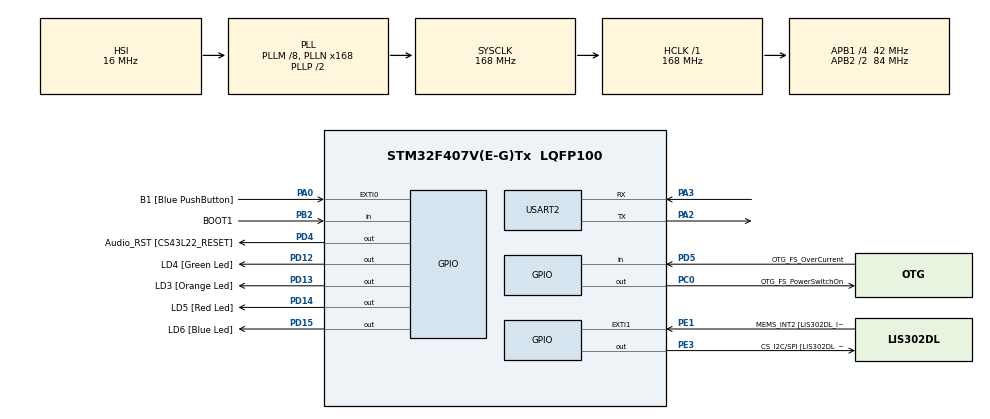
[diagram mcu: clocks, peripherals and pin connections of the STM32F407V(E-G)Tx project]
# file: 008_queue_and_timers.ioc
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Mcu.Family=STM32F4
Mcu.Name=STM32F407V(E-G)Tx
Mcu.Package=LQFP100
NVIC.PriorityGroup=NVIC_PRIORITYGROUP_4
NVIC.TIM6_DAC_IRQn=true\:0\:0\:false\:false\:true\:false\:true\:true
NVIC.TimeBase=TIM6_DAC_IRQn
NVIC.TimeBaseIP=TIM6
NVIC.USART2_IRQn=true\:6\:0\:true\:false\:true\:true\:true\:true
PA0-WKUP.GPIO_Label=B1 [Blue PushButton]
PA0-WKUP.Signal=GPXTI0
PA10.GPIO_Label=OTG_FS_ID
PA10.GPIO_Mode=GPIO_MODE_AF_PP
PA10.GPIO_PuPd=GPIO_NOPULL
PA10.GPIO_Speed=GPIO_SPEED_FREQ_LOW
PA10.Signal=USB_OTG_FS_ID
PA11.GPIO_Label=OTG_FS_DM
PA11.GPIO_Mode=GPIO_MODE_AF_PP
PA11.GPIO_PuPd=GPIO_NOPULL
PA11.GPIO_Speed=GPIO_SPEED_FREQ_LOW
PA11.Signal=USB_OTG_FS_DM
PA12.GPIO_Label=OTG_FS_DP
PA12.GPIO_Mode=GPIO_MODE_AF_PP
PA12.GPIO_PuPd=GPIO_NOPULL
PA12.GPIO_Speed=GPIO_SPEED_FREQ_LOW
PA12.Signal=USB_OTG_FS_DP
PA13.GPIO_Label=SWDIO
PA13.Signal=SYS_JTMS-SWDIO
PA14.GPIO_Label=SWCLK
PA14.Signal=SYS_JTCK-SWCLK
PA2.Mode=Asynchronous
PA2.Signal=USART2_TX
PA3.Mode=Asynchronous
PA3.Signal=USART2_RX
PA4.GPIO_Label=I2S3_WS [CS43L22_LRCK]
PA4.GPIO_Mode=GPIO_MODE_AF_PP
PA4.GPIO_PuPd=GPIO_NOPULL
PA4.GPIO_Speed=GPIO_SPEED_FREQ_LOW
PA4.Signal=I2S3_WS
PA5.GPIO_Label=SPI1_SCK [LIS302DL_SCL/SPC]
PA5.GPIO_Mode=GPIO_MODE_AF_PP
PA5.GPIO_PuPd=GPIO_NOPULL
PA5.GPIO_Speed=GPIO_SPEED_FREQ_LOW
PA5.Signal=SPI1_SCK
PA6.GPIO_Label=SPI1_MISO [LIS302DL_SDO]
PA6.GPIO_Mode=GPIO_MODE_AF_PP
PA6.GPIO_PuPd=GPIO_NOPULL
PA6.GPIO_Speed=GPIO_SPEED_FREQ_LOW
PA6.Signal=SPI1_MISO
PA7.GPIO_Label=SPI1_MOSI [LIS302DL_SDA/SDI/SDO]
PA7.GPIO_Mode=GPIO_MODE_AF_PP
PA7.GPIO_PuPd=GPIO_NOPULL
PA7.GPIO_Speed=GPIO_SPEED_FREQ_LOW
PA7.Signal=SPI1_MOSI
PA9.GPIO_Label=VBUS_FS
PA9.GPIO_Mode=GPIO_MODE_INPUT
PA9.GPIO_PuPd=GPIO_NOPULL
PA9.Signal=USB_OTG_FS_VBUS
PB10.GPIO_Label=CLK_IN [MP45DT02_CLK]
PB10.GPIO_Mode=GPIO_MODE_AF_PP
PB10.GPIO_PuPd=GPIO_NOPULL
PB10.GPIO_Speed=GPIO_SPEED_FREQ_LOW
PB10.Signal=I2S2_CK
PB2.GPIO_Label=BOOT1
PB2.GPIO_Mode=GPIO_MODE_INPUT
PB2.GPIO_PuPd=GPIO_NOPULL
PB2.Signal=GPIO_Input
PB3.GPIO_Label=SWO
PB3.Signal=SYS_JTDO-SWO
PB6.GPIO_Label=Audio_SCL [CS43L22_SCL]
PB6.GPIO_Mode=GPIO_MODE_AF_OD
PB6.GPIO_PuPd=GPIO_NOPULL
PB6.GPIO_Speed=GPIO_SPEED_FREQ_LOW
PB6.Signal=I2C1_SCL
PB9.GPIO_Label=Audio_SDA [CS43L22_SDA]
PB9.GPIO_Mode=GPIO_MODE_AF_OD
PB9.GPIO_PuPd=GPIO_NOPULL
PB9.GPIO_Speed=GPIO_SPEED_FREQ_LOW
PB9.Signal=I2C1_SDA
PC0.GPIO_Label=OTG_FS_PowerSwitchOn
PC0.GPIO_PuPd=GPIO_NOPULL
PC0.GPIO_Speed=GPIO_SPEED_FREQ_LOW
PC0.PinState=GPIO_PIN_SET
PC0.Signal=GPIO_Output
PC10.GPIO_Label=I2S3_SCK [CS43L22_SCLK]
PC10.GPIO_Mode=GPIO_MODE_AF_PP
PC10.GPIO_PuPd=GPIO_NOPULL
PC10.GPIO_Speed=GPIO_SPEED_FREQ_LOW
PC10.Signal=I2S3_CK
PC12.GPIO_Label=I2S3_SD [CS43L22_SDIN]
PC12.GPIO_Mode=GPIO_MODE_AF_PP
PC12.GPIO_PuPd=GPIO_NOPULL
PC12.GPIO_Speed=GPIO_SPEED_FREQ_LOW
PC12.Signal=I2S3_SD
PC14-OSC32_IN.GPIO_Label=PC14-OSC32_IN
PC14-OSC32_IN.Signal=RCC_OSC32_IN
PC15-OSC32_OUT.GPIO_Label=PC15-OSC32_OUT
PC15-OSC32_OUT.Signal=RCC_OSC32_OUT
PC3.GPIO_Label=PDM_OUT [MP45DT02_DOUT]
PC3.GPIO_Mode=GPIO_MODE_AF_PP
PC3.GPIO_PuPd=GPIO_NOPULL
PC3.GPIO_Speed=GPIO_SPEED_FREQ_LOW
PC3.Signal=I2S2_SD
PC7.GPIO_Label=I2S3_MCK [CS43L22_MCLK]
PC7.GPIO_Mode=GPIO_MODE_AF_PP
PC7.GPIO_PuPd=GPIO_NOPULL
PC7.GPIO_Speed=GPIO_SPEED_FREQ_LOW
PC7.Signal=I2S3_MCK
PD12.GPIO_Label=LD4 [Green Led]
PD12.GPIO_PuPd=GPIO_NOPULL
PD12.GPIO_Speed=GPIO_SPEED_FREQ_LOW
PD12.Signal=GPIO_Output
PD13.GPIO_Label=LD3 [Orange Led]
PD13.GPIO_PuPd=GPIO_NOPULL
PD13.GPIO_Speed=GPIO_SPEED_FREQ_LOW
PD13.Signal=GPIO_Output
PD14.GPIO_Label=LD5 [Red Led]
PD14.GPIO_PuPd=GPIO_NOPULL
PD14.GPIO_Speed=GPIO_SPEED_FREQ_LOW
PD14.Signal=GPIO_Output
PD15.GPIO_Label=LD6 [Blue Led]
PD15.GPIO_PuPd=GPIO_NOPULL
PD15.GPIO_Speed=GPIO_SPEED_FREQ_LOW
PD15.Signal=GPIO_Output
PD4.GPIO_Label=Audio_RST [CS43L22_RESET]
PD4.GPIO_PuPd=GPIO_NOPULL
PD4.GPIO_Speed=GPIO_SPEED_FREQ_LOW
PD4.Signal=GPIO_Output
PD5.GPIO_Label=OTG_FS_OverCurrent
PD5.GPIO_Mode=GPIO_MODE_INPUT
PD5.GPIO_PuPd=GPIO_NOPULL
PD5.Signal=GPIO_Input
PE1.GPIO_Label=MEMS_INT2 [LIS302DL_INT2]
PE1.GPIO_ModeDefaultEXTI=GPIO_MODE_EVT_RISING
PE1.GPIO_PuPd=GPIO_NOPULL
PE1.Signal=GPXTI1
PE3.GPIO_Label=CS_I2C/SPI [LIS302DL_CS_I2C/SPI]
PE3.GPIO_PuPd=GPIO_NOPULL
PE3.GPIO_Speed=GPIO_SPEED_FREQ_LOW
PE3.Signal=GPIO_Output
PH0-OSC_IN.GPIO_Label=PH0-OSC_IN
PH0-OSC_IN.Signal=RCC_OSC_IN
PH1-OSC_OUT.GPIO_Label=PH1-OSC_OUT
PH1-OSC_OUT.Signal=RCC_OSC_OUT
ProjectManager.HeapSize=0x200
ProjectManager.StackSize=0x400
ProjectManager.TargetToolchain=STM32CubeIDE
RCC.48MHZClocksFreq_Value=48000000
RCC.AHBFreq_Value=168000000
RCC.APB1CLKDivider=RCC_HCLK_DIV4
RCC.APB1Freq_Value=42000000
RCC.APB1TimFreq_Value=84000000
RCC.APB2CLKDivider=RCC_HCLK_DIV2
RCC.APB2Freq_Value=84000000
RCC.APB2TimFreq_Value=168000000
RCC.CortexFreq_Value=168000000
RCC.HCLKFreq_Value=168000000
RCC.HSE_VALUE=8000000
RCC.HSI_VALUE=16000000
RCC.LSE_VALUE=32768
RCC.PLLM=8
RCC.PLLN=168
RCC.PLLQ=7
RCC.SYSCLKFreq_VALUE=168000000
RCC.SYSCLKSource=RCC_SYSCLKSOURCE_PLLCLK
RCC.VCOOutputFreq_Value=336000000
RTC.HourFormat=RTC_HOURFORMAT_12
USART2.VirtualMode=VM_ASYNC
VP_RTC_VS_RTC_Activate.Mode=RTC_Enabled
VP_SYS_VS_tim6.Mode=TIM6
board=STM32F407G-DISC1

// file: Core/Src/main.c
/* USER CODE BEGIN Header */
/**
  ******************************************************************************
  * @file           : main.c
  * @brief          : Main program body
  ******************************************************************************
  * @attention
  *
  * Copyright (c) 2026 STMicroelectronics.
  * All rights reserved.
  *
  * This software is licensed under terms that can be found in the LICENSE file
  * in the root directory of this software component.
  * If no LICENSE file comes with this software, it is provided AS-IS.
  *
  ******************************************************************************
  */
/* USER CODE END Header */
#include "main.h"
#include "FreeRTOS.h"
#include "task.h"

RTC_HandleTypeDef hrtc;

UART_HandleTypeDef huart2;

/* USER CODE BEGIN PV */
BaseType_t status;
TaskHandle_t handle_menu_task;
TaskHandle_t handle_cmd_handler_task;
TaskHandle_t handle_print_task;
TaskHandle_t handle_led_task;
TaskHandle_t handle_rtc_task;

QueueHandle_t q_data;
QueueHandle_t q_print;

volatile uint8_t user_data;

state_t current_state = smain_menu;
/* USER CODE END PV */

void SystemClock_Config(void);
static void MX_GPIO_Init(void);
static void MX_RTC_Init(void);
static void MX_USART2_UART_Init(void);

int main(void)
{

  /* MCU Configuration--------------------------------------------------------*/

  /* Reset of all peripherals, Initializes the Flash interface and the Systick. */
  HAL_Init();

  /* Configure the system clock */
  SystemClock_Config();

  /* Initialize all configured peripherals */
  MX_GPIO_Init();
  MX_RTC_Init();
  MX_USART2_UART_Init();
  /* USER CODE BEGIN 2 */
status = xTaskCreate(menu_task, "menu task", 250, NULL, 2, &handle_menu_task);

configASSERT(status==pdPASS);

status = xTaskCreate(cmd_handler_task, "cmd_handler_task", 250, NULL, 2, &handle_cmd_handler_task);

configASSERT(status==pdPASS);

status = xTaskCreate(print_task, "print_task", 250, NULL, 2, &handle_print_task);

configASSERT(status==pdPASS);

status = xTaskCreate(led_task, "led_task", 250, NULL, 2, &handle_led_task);

configASSERT(status==pdPASS);

status = xTaskCreate(rtc_task, "rtc_task", 250, NULL, 2, &handle_rtc_task);

configASSERT(status==pdPASS);

q_data = xQueueCreate(10,sizeof(char));

configASSERT(q_data != NULL);

q_print = xQueueCreate(10,sizeof(char));

configASSERT(q_print != NULL);

HAL_UART_Receive_IT(&huart2, (uint8_t*)&user_data, 1);

vTaskStartScheduler();
/* USER CODE END 2 */

  /* Infinite loop */
  while (1)
  {

  }
}

void SystemClock_Config(void)
{
  RCC_OscInitTypeDef RCC_OscInitStruct = {0};
  RCC_ClkInitTypeDef RCC_ClkInitStruct = {0};

  /** Configure the main internal regulator output voltage
  */
  __HAL_RCC_PWR_CLK_ENABLE();
  __HAL_PWR_VOLTAGESCALING_CONFIG(PWR_REGULATOR_VOLTAGE_SCALE1);

  /** Initializes the RCC Oscillators according to the specified parameters
  * in the RCC_OscInitTypeDef structure.
  */
  RCC_OscInitStruct.OscillatorType = RCC_OSCILLATORTYPE_HSI|RCC_OSCILLATORTYPE_LSI;
  RCC_OscInitStruct.HSIState = RCC_HSI_ON;
  RCC_OscInitStruct.HSICalibrationValue = RCC_HSICALIBRATION_DEFAULT;
  RCC_OscInitStruct.LSIState = RCC_LSI_ON;
  RCC_OscInitStruct.PLL.PLLState = RCC_PLL_ON;
  RCC_OscInitStruct.PLL.PLLSource = RCC_PLLSOURCE_HSI;
  RCC_OscInitStruct.PLL.PLLM = 8;
  RCC_OscInitStruct.PLL.PLLN = 168;
  RCC_OscInitStruct.PLL.PLLP = RCC_PLLP_DIV2;
  RCC_OscInitStruct.PLL.PLLQ = 7;
  if (HAL_RCC_OscConfig(&RCC_OscInitStruct) != HAL_OK)
  {
    Error_Handler();
  }

  /** Initializes the CPU, AHB and APB buses clocks
  */
  RCC_ClkInitStruct.ClockType = RCC_CLOCKTYPE_HCLK|RCC_CLOCKTYPE_SYSCLK
                              |RCC_CLOCKTYPE_PCLK1|RCC_CLOCKTYPE_PCLK2;
  RCC_ClkInitStruct.SYSCLKSource = RCC_SYSCLKSOURCE_PLLCLK;
  RCC_ClkInitStruct.AHBCLKDivider = RCC_SYSCLK_DIV1;
  RCC_ClkInitStruct.APB1CLKDivider = RCC_HCLK_DIV4;
  RCC_ClkInitStruct.APB2CLKDivider = RCC_HCLK_DIV2;

  if (HAL_RCC_ClockConfig(&RCC_ClkInitStruct, FLASH_LATENCY_5) != HAL_OK)
  {
    Error_Handler();
  }
}

static void MX_RTC_Init(void)
{

  /** Initialize RTC Only
  */
  hrtc.Instance = RTC;
  hrtc.Init.HourFormat = RTC_HOURFORMAT_12;
  hrtc.Init.AsynchPrediv = 127;
  hrtc.Init.SynchPrediv = 255;
  hrtc.Init.OutPut = RTC_OUTPUT_DISABLE;
  hrtc.Init.OutPutPolarity = RTC_OUTPUT_POLARITY_HIGH;
  hrtc.Init.OutPutType = RTC_OUTPUT_TYPE_OPENDRAIN;
  if (HAL_RTC_Init(&hrtc) != HAL_OK)
  {
    Error_Handler();
  }

}

static void MX_USART2_UART_Init(void)
{

  huart2.Instance = USART2;
  huart2.Init.BaudRate = 115200;
  huart2.Init.WordLength = UART_WORDLENGTH_8B;
  huart2.Init.StopBits = UART_STOPBITS_1;
  huart2.Init.Parity = UART_PARITY_NONE;
  huart2.Init.Mode = UART_MODE_TX_RX;
  huart2.Init.HwFlowCtl = UART_HWCONTROL_NONE;
  huart2.Init.OverSampling = UART_OVERSAMPLING_16;
  if (HAL_UART_Init(&huart2) != HAL_OK)
  {
    Error_Handler();
  }

}

static void MX_GPIO_Init(void)
{
  GPIO_InitTypeDef GPIO_InitStruct = {0};

  /* GPIO Ports Clock Enable */
  __HAL_RCC_GPIOE_CLK_ENABLE();
  __HAL_RCC_GPIOC_CLK_ENABLE();
  __HAL_RCC_GPIOH_CLK_ENABLE();
  __HAL_RCC_GPIOA_CLK_ENABLE();
  __HAL_RCC_GPIOB_CLK_ENABLE();
  __HAL_RCC_GPIOD_CLK_ENABLE();

  /*Configure GPIO pin Output Level */
  HAL_GPIO_WritePin(CS_I2C_SPI_GPIO_Port, CS_I2C_SPI_Pin, GPIO_PIN_RESET);

  /*Configure GPIO pin Output Level */
  HAL_GPIO_WritePin(OTG_FS_PowerSwitchOn_GPIO_Port, OTG_FS_PowerSwitchOn_Pin, GPIO_PIN_SET);

  /*Configure GPIO pin Output Level */
  HAL_GPIO_WritePin(GPIOD, LD4_Pin|LD3_Pin|LD5_Pin|LD6_Pin
                          |Audio_RST_Pin, GPIO_PIN_RESET);

  /*Configure GPIO pin : CS_I2C_SPI_Pin */
  GPIO_InitStruct.Pin = CS_I2C_SPI_Pin;
  GPIO_InitStruct.Mode = GPIO_MODE_OUTPUT_PP;
  GPIO_InitStruct.Pull = GPIO_NOPULL;
  GPIO_InitStruct.Speed = GPIO_SPEED_FREQ_LOW;
  HAL_GPIO_Init(CS_I2C_SPI_GPIO_Port, &GPIO_InitStruct);

  /*Configure GPIO pin : OTG_FS_PowerSwitchOn_Pin */
  GPIO_InitStruct.Pin = OTG_FS_PowerSwitchOn_Pin;
  GPIO_InitStruct.Mode = GPIO_MODE_OUTPUT_PP;
  GPIO_InitStruct.Pull = GPIO_NOPULL;
  GPIO_InitStruct.Speed = GPIO_SPEED_FREQ_LOW;
  HAL_GPIO_Init(OTG_FS_PowerSwitchOn_GPIO_Port, &GPIO_InitStruct);

  /*Configure GPIO pin : PDM_OUT_Pin */
  GPIO_InitStruct.Pin = PDM_OUT_Pin;
  GPIO_InitStruct.Mode = GPIO_MODE_AF_PP;
  GPIO_InitStruct.Pull = GPIO_NOPULL;
  GPIO_InitStruct.Speed = GPIO_SPEED_FREQ_LOW;
  GPIO_InitStruct.Alternate = GPIO_AF5_SPI2;
  HAL_GPIO_Init(PDM_OUT_GPIO_Port, &GPIO_InitStruct);

  /*Configure GPIO pin : B1_Pin */
  GPIO_InitStruct.Pin = B1_Pin;
  GPIO_InitStruct.Mode = GPIO_MODE_IT_RISING;
  GPIO_InitStruct.Pull = GPIO_NOPULL;
  HAL_GPIO_Init(B1_GPIO_Port, &GPIO_InitStruct);

  /*Configure GPIO pin : I2S3_WS_Pin */
  GPIO_InitStruct.Pin = I2S3_WS_Pin;
  GPIO_InitStruct.Mode = GPIO_MODE_AF_PP;
  GPIO_InitStruct.Pull = GPIO_NOPULL;
  GPIO_InitStruct.Speed = GPIO_SPEED_FREQ_LOW;
  GPIO_InitStruct.Alternate = GPIO_AF6_SPI3;
  HAL_GPIO_Init(I2S3_WS_GPIO_Port, &GPIO_InitStruct);

  /*Configure GPIO pins : SPI1_SCK_Pin SPI1_MISO_Pin SPI1_MOSI_Pin */
  GPIO_InitStruct.Pin = SPI1_SCK_Pin|SPI1_MISO_Pin|SPI1_MOSI_Pin;
  GPIO_InitStruct.Mode = GPIO_MODE_AF_PP;
  GPIO_InitStruct.Pull = GPIO_NOPULL;
  GPIO_InitStruct.Speed = GPIO_SPEED_FREQ_LOW;
  GPIO_InitStruct.Alternate = GPIO_AF5_SPI1;
  HAL_GPIO_Init(GPIOA, &GPIO_InitStruct);

  /*Configure GPIO pin : BOOT1_Pin */
  GPIO_InitStruct.Pin = BOOT1_Pin;
  GPIO_InitStruct.Mode = GPIO_MODE_INPUT;
  GPIO_InitStruct.Pull = GPIO_NOPULL;
  HAL_GPIO_Init(BOOT1_GPIO_Port, &GPIO_InitStruct);

  /*Configure GPIO pin : CLK_IN_Pin */
  GPIO_InitStruct.Pin = CLK_IN_Pin;
  GPIO_InitStruct.Mode = GPIO_MODE_AF_PP;
  GPIO_InitStruct.Pull = GPIO_NOPULL;
  GPIO_InitStruct.Speed = GPIO_SPEED_FREQ_LOW;
  GPIO_InitStruct.Alternate = GPIO_AF5_SPI2;
  HAL_GPIO_Init(CLK_IN_GPIO_Port, &GPIO_InitStruct);

  /*Configure GPIO pins : LD4_Pin LD3_Pin LD5_Pin LD6_Pin
                           Audio_RST_Pin */
  GPIO_InitStruct.Pin = LD4_Pin|LD3_Pin|LD5_Pin|LD6_Pin
                          |Audio_RST_Pin;
  GPIO_InitStruct.Mode = GPIO_MODE_OUTPUT_PP;
  GPIO_InitStruct.Pull = GPIO_NOPULL;
  GPIO_InitStruct.Speed = GPIO_SPEED_FREQ_LOW;
  HAL_GPIO_Init(GPIOD, &GPIO_InitStruct);

  /*Configure GPIO pins : I2S3_MCK_Pin I2S3_SCK_Pin I2S3_SD_Pin */
  GPIO_InitStruct.Pin = I2S3_MCK_Pin|I2S3_SCK_Pin|I2S3_SD_Pin;
  GPIO_InitStruct.Mode = GPIO_MODE_AF_PP;
  GPIO_InitStruct.Pull = GPIO_NOPULL;
  GPIO_InitStruct.Speed = GPIO_SPEED_FREQ_LOW;
  GPIO_InitStruct.Alternate = GPIO_AF6_SPI3;
  HAL_GPIO_Init(GPIOC, &GPIO_InitStruct);

  /*Configure GPIO pin : VBUS_FS_Pin */
  GPIO_InitStruct.Pin = VBUS_FS_Pin;
  GPIO_InitStruct.Mode = GPIO_MODE_INPUT;
  GPIO_InitStruct.Pull = GPIO_NOPULL;
  HAL_GPIO_Init(VBUS_FS_GPIO_Port, &GPIO_InitStruct);

  /*Configure GPIO pins : OTG_FS_ID_Pin OTG_FS_DM_Pin OTG_FS_DP_Pin */
  GPIO_InitStruct.Pin = OTG_FS_ID_Pin|OTG_FS_DM_Pin|OTG_FS_DP_Pin;
  GPIO_InitStruct.Mode = GPIO_MODE_AF_PP;
  GPIO_InitStruct.Pull = GPIO_NOPULL;
  GPIO_InitStruct.Speed = GPIO_SPEED_FREQ_LOW;
  GPIO_InitStruct.Alternate = GPIO_AF10_OTG_FS;
  HAL_GPIO_Init(GPIOA, &GPIO_InitStruct);

  /*Configure GPIO pin : OTG_FS_OverCurrent_Pin */
  GPIO_InitStruct.Pin = OTG_FS_OverCurrent_Pin;
  GPIO_InitStruct.Mode = GPIO_MODE_INPUT;
  GPIO_InitStruct.Pull = GPIO_NOPULL;
  HAL_GPIO_Init(OTG_FS_OverCurrent_GPIO_Port, &GPIO_InitStruct);

  /*Configure GPIO pins : Audio_SCL_Pin Audio_SDA_Pin */
  GPIO_InitStruct.Pin = Audio_SCL_Pin|Audio_SDA_Pin;
  GPIO_InitStruct.Mode = GPIO_MODE_AF_OD;
  GPIO_InitStruct.Pull = GPIO_NOPULL;
  GPIO_InitStruct.Speed = GPIO_SPEED_FREQ_LOW;
  GPIO_InitStruct.Alternate = GPIO_AF4_I2C1;
  HAL_GPIO_Init(GPIOB, &GPIO_InitStruct);

  /*Configure GPIO pin : MEMS_INT2_Pin */
  GPIO_InitStruct.Pin = MEMS_INT2_Pin;
  GPIO_InitStruct.Mode = GPIO_MODE_EVT_RISING;
  GPIO_InitStruct.Pull = GPIO_NOPULL;
  HAL_GPIO_Init(MEMS_INT2_GPIO_Port, &GPIO_InitStruct);

}

/* USER CODE BEGIN 4 */
void HAL_UART_RxCpltCallback(UART_HandleTypeDef *huart)
{

uint8_t dummy;
if(! xQueueIsQueueFullFromISR(q_data))
{
	xQueueSendFromISR(q_data, (void*)&user_data, NULL);
}else{
		/*Queue is full */
	if(user_data == '\n')
	{
		xQueueReceiveFromISR(q_data, (void*)&dummy, NULL);
		xQueueSendFromISR(q_data, (void*)&user_data, NULL);
	}
	}

if(user_data== '\n'){
	xTaskNotifyFromISR(handle_cmd_handler_task,0,eNoAction,NULL);
}

HAL_UART_Receive_IT(&huart2, (uint8_t*)&user_data, 1);

}
/* USER CODE END 4 */

void HAL_TIM_PeriodElapsedCallback(TIM_HandleTypeDef *htim)
{
  if (htim->Instance == TIM6)
  {
    HAL_IncTick();
  }
}

void Error_Handler(void)
{
  __disable_irq();
  while (1)
  {
  }
}
